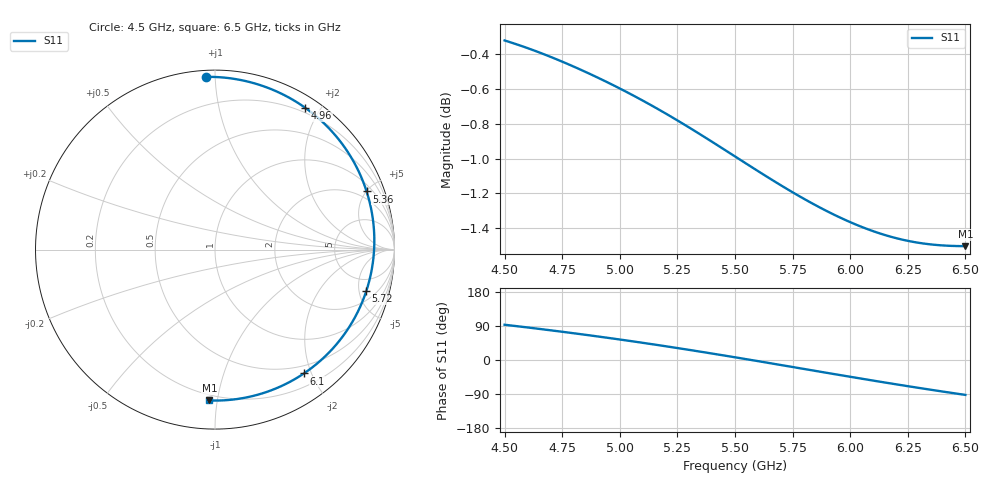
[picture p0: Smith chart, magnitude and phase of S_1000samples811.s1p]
! TOUCHSTONE file generated by CST MICROWAVE STUDIO
! Date and time: Sat Oct 29 11:33:37 2022
! Project name: L.cst
! Parameters = {Di=1.27; Epsilon_r=1.56; InnerDiameter=1.27; Length=2; Lf=10; Lg=60; OuterConductorThickness=0.2921; OuterDiameter=3.6; Wf=3; Wp=41.2; de=1.5; df=6.8; g=0.8; gx=3.23404; gy=3.10458; h=2.34; hf=1.524; px=8.69402; py=8.07397; w=9.7; wx=5.45998; wy=4.96939}
! Header version: 2018
! Port assignment regex: !\s*Touchstone port\s*([0-9]+)\s*=\s*(CST MWS port|CST DS port)\s*([0-9]+|Zmin|Zmax)\s*\(\"(.*)\"\)(\s*mode\s*([0-9]+))?.*
! Touchstone port assignment:
! Touchstone port 1 = CST MWS port 1 ("")
# GHz S DB R 50
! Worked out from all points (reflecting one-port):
!   101 points, 4.5 GHz to 6.5 GHz, reference 50 ohm
!   lowest |S11| = -1.5 dB at 6.5 GHz (marker M1), VSWR 11.58, Z = 8.27 - j47.5 ohm
!   phase of S11 starts at 93 deg and turns -185 deg over the sweep
!   S11 on the Smith chart (normalised r, x): 4.5 GHz: 0.04, +0.95; 4.96 GHz: 0.14, +1.82; 5.36 GHz: 1.40, +5.02; 5.72 GHz: 3.01, -5.90; 6.1 GHz: 0.38, -1.89; 6.5 GHz: 0.17, -0.95
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4.5  -0.32 93.0
4.58  -0.36 87.3
4.64  -0.38 82.9
4.76  -0.45 73.7
4.86  -0.51 65.8
4.96  -0.57 57.5
5  -0.60 54.1
5.12  -0.68 43.5
5.2  -0.74 36.2
5.26  -0.79 30.6
5.36  -0.87 21.0
5.44  -0.94 13.1
5.5  -0.99 7.1
5.6  -1.07 -3.0
5.66  -1.12 -9.2
5.72  -1.17 -15.4
5.76  -1.20 -19.5
5.82  -1.25 -25.7
5.88  -1.29 -32.0
5.94  -1.33 -38.1
6  -1.37 -44.3
6.1  -1.42 -54.4
6.18  -1.45 -62.3
6.26  -1.48 -70.0
6.32  -1.49 -75.7
6.38  -1.50 -81.3
6.44  -1.50 -86.8
6.5  -1.50 -92.1
